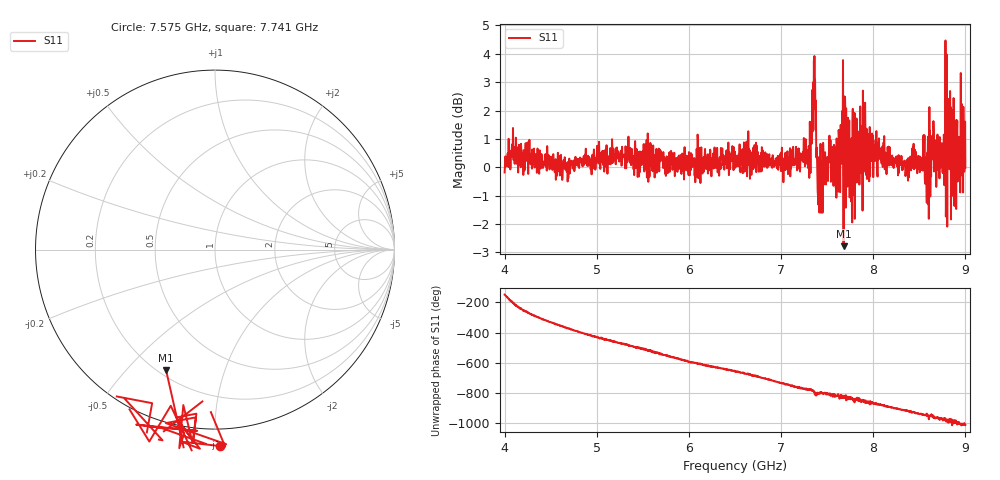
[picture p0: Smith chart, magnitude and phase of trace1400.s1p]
! Created with skrf 1.8.0 (http://scikit-rf.org).
# Hz S RI R 50.0
!freq ReS11 ImS11
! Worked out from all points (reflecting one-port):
!   1601 points, 4 GHz to 9 GHz, reference 50 ohm
!   lowest |S11| = -2.8 dB at 7.678 GHz (marker M1), VSWR 6.30, Z = 11.4 - j32.5 ohm
!   phase of S11 starts at -147 deg and turns -865 deg over the sweep
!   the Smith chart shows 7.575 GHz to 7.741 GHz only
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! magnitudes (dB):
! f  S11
! 4 GHz  -0.2
! 4.1 GHz  0.3
! 4.625 GHz  -0.4
! 5.25 GHz  0.4
! 5.875 GHz  -0.2
! 6.5 GHz  0.5
! 7.125 GHz  0.1
! 7.297 GHz  0.0
! 7.353 GHz  2.0
! 7.369 GHz  3.1
! 7.4 GHz  -1.0
! 7.425 GHz  0.0
! 7.512 GHz  0.4
! 7.575 GHz  0.8
! 7.678 GHz  -2.8
! 7.75 GHz  0.9
! 7.769 GHz  -1.7
! 7.8 GHz  -1.8
! 8.009 GHz  0.4
! 8.375 GHz  -0.3
! 8.531 GHz  0.3
! 8.581 GHz  -1.3
! 8.634 GHz  0.6
! 8.728 GHz  0.0
! 8.816 GHz  0.4
! 8.875 GHz  -0.2
! 8.972 GHz  0.6
! 9 GHz  0.0
